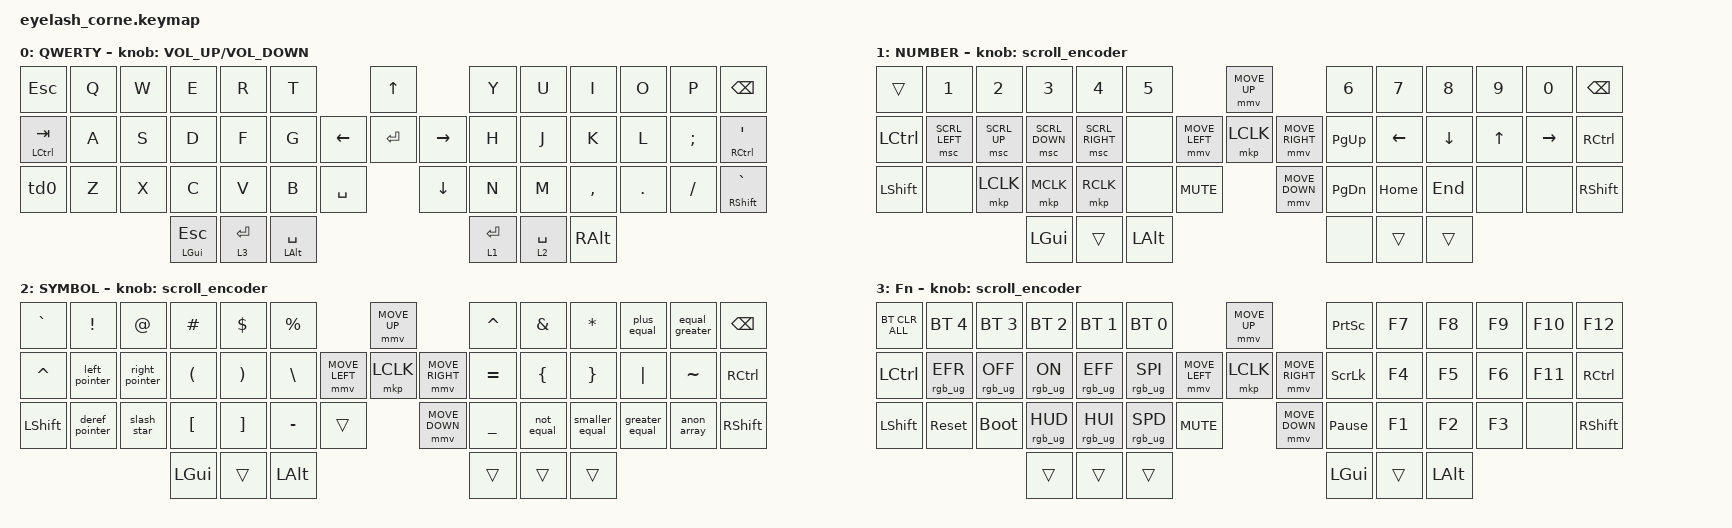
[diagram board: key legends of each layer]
#define ZMK_POINTING_DEFAULT_MOVE_VAL 1200  // 600
#define ZMK_POINTING_DEFAULT_SCRL_VAL 25   // 10

#include <input/processors.dtsi>
#include <zephyr/dt-bindings/input/input-event-codes.h>
#include <behaviors.dtsi>
#include <dt-bindings/zmk/bt.h>
#include <dt-bindings/zmk/keys.h>
#include <dt-bindings/zmk/pointing.h>
#include <dt-bindings/zmk/rgb.h>

&mmv_input_listener { input-processors = <&zip_xy_scaler 2 1>; };

&msc_input_listener { input-processors = <&zip_scroll_scaler 2 1>; };

&msc {
    acceleration-exponent = <1>;      // 0
    time-to-max-speed-ms = <100>;       // 300
    delay-ms = <0>;                   // 0
};

&mmv {
    time-to-max-speed-ms = <500>;
    acceleration-exponent = <1>;
    trigger-period-ms = <16>;
};

/ {
    behaviors {
        td0: td0 {
            compatible = "zmk,behavior-tap-dance";
            display-name = "Shift/Caps Lock Tap Dance";
            #binding-cells = <0>;
            bindings = <&kp LEFT_SHIFT>, <&kp CAPS>;
        };
    };

    rgb_encoder: rgb_encoder {
        compatible = "zmk,behavior-sensor-rotate";
        #sensor-binding-cells = <0>;
        bindings = <&rgb_ug RGB_BRI>, <&rgb_ug RGB_BRD>;
    };

    scroll_encoder: scroll_encoder {
        compatible = "zmk,behavior-sensor-rotate";
        #sensor-binding-cells = <0>;
        bindings = <&msc SCRL_DOWN>, <&msc SCRL_UP>;

        tap-ms = <100>;
    };

    macros {
        smaller_equal: smaller_equal {
            compatible = "zmk,behavior-macro";
            #binding-cells = <0>;
            bindings = <&kp LT &kp EQUAL>;
            label = "SMALLER_EQUAL";
        };

        greater_equal: greater_equal {
            compatible = "zmk,behavior-macro";
            #binding-cells = <0>;
            bindings = <&kp GT &kp EQUAL>;
            label = "GREATER_EQUAL";
        };

        not_equal: not_equal {
            compatible = "zmk,behavior-macro";
            #binding-cells = <0>;
            bindings = <&kp EXCL &kp EQUAL>;
            label = "NOT_EQUAL";
        };

        right_pointer: right_pointer {
            compatible = "zmk,behavior-macro";
            #binding-cells = <0>;
            bindings = <&kp MINUS &kp GT>;
            label = "RIGHT_POINTER";
        };

        left_pointer: left_pointer {
            compatible = "zmk,behavior-macro";
            #binding-cells = <0>;
            bindings = <&kp LT &kp MINUS>;
            label = "LEFT_POINTER";
        };

        slash_star: slash_star {
            compatible = "zmk,behavior-macro";
            #binding-cells = <0>;
            bindings = <&kp FSLH &kp STAR>;
            label = "SLASH_STAR";
        };

        equal_greater: equal_greater {
            compatible = "zmk,behavior-macro";
            #binding-cells = <0>;
            bindings = <&kp EQUAL &kp GREATER_THAN>;
            label = "EQUAL_GREATER";
        };

        plus_equal: plus_equal {
            compatible = "zmk,behavior-macro";
            #binding-cells = <0>;
            bindings = <&kp PLUS &kp EQUAL>;
            label = "PLUS_EQUAL";
        };

        anon_array: anon_array {
            compatible = "zmk,behavior-macro";
            #binding-cells = <0>;
            bindings = <&kp LEFT_BRACKET &kp UNDER &kp RIGHT_BRACKET>;
            label = "ANON_ARRAY";
        };

        deref_pointer: deref_pointer {
            compatible = "zmk,behavior-macro";
            #binding-cells = <0>;
            bindings = <&kp DOT &kp STAR>;
            label = "DEREF_POINTER";
        };
    };

    keymap {
        compatible = "zmk,keymap";

        default_layer {
            display-name = "QWERTY";
            bindings = <
&kp ESCAPE     &kp Q  &kp W  &kp E            &kp R        &kp T                                  &kp UP                &kp Y        &kp U        &kp I      &kp O    &kp P          &kp BSPC
&mt LCTRL TAB  &kp A  &kp S  &kp D            &kp F        &kp G                        &kp LEFT  &kp ENTER  &kp RIGHT  &kp H        &kp J        &kp K      &kp L    &kp SEMICOLON  &mt RCTRL SQT
&td0           &kp Z  &kp X  &kp C            &kp V        &kp B           &kp SPACE              &kp DOWN              &kp N        &kp M        &kp COMMA  &kp DOT  &kp FSLH       &mt RSHFT GRAVE
                             &mt LGUI ESCAPE  &lt 3 ENTER  &mt LALT SPACE                                               &lt 1 ENTER  &lt 2 SPACE  &kp RALT
            >;

            sensor-bindings = <&inc_dec_kp C_VOLUME_UP C_VOLUME_DOWN>;
        };

        lower_layer {
            display-name = "NUMBER";
            bindings = <
&trans     &kp NUMBER_1    &kp NUMBER_2  &kp NUMBER_3    &kp NUMBER_4     &kp N5                                  &mmv MOVE_UP                     &kp NUMBER_6  &kp N7    &kp N8    &kp N9  &kp N0     &kp BSPC
&kp LCTRL  &msc SCRL_LEFT  &msc SCRL_UP  &msc SCRL_DOWN  &msc SCRL_RIGHT  &none                   &mmv MOVE_LEFT  &mkp LCLK       &mmv MOVE_RIGHT  &kp PG_UP     &kp LEFT  &kp DOWN  &kp UP  &kp RIGHT  &kp RCTRL
&kp LSHFT  &none           &mkp LCLK     &mkp MCLK       &mkp RCLK        &none     &kp C_MUTE                    &mmv MOVE_DOWN                   &kp PG_DN     &kp HOME  &kp END   &none   &none      &kp RSHFT
                                         &kp LGUI        &trans           &kp LALT                                                                 &none         &trans    &trans
            >;

            sensor-bindings = <&scroll_encoder>;
        };

        raise_layer {
            display-name = "SYMBOL";
            bindings = <
&kp GRAVE  &kp EXCL        &kp AT          &kp HASH              &kp DOLLAR             &kp PRCNT                                &mmv MOVE_UP                     &kp CARET  &kp AMPERSAND   &kp ASTERISK     &plus_equal     &equal_greater  &kp BSPC
&kp CARET  &left_pointer   &right_pointer  &kp LEFT_PARENTHESIS  &kp RIGHT_PARENTHESIS  &kp BACKSLASH            &mmv MOVE_LEFT  &mkp LCLK       &mmv MOVE_RIGHT  &kp EQUAL  &kp LEFT_BRACE  &kp RIGHT_BRACE  &kp PIPE        &kp TILDE       &kp RCTRL
&kp LSHFT  &deref_pointer  &slash_star     &kp LEFT_BRACKET      &kp RIGHT_BRACKET      &kp MINUS      &trans                    &mmv MOVE_DOWN                   &kp UNDER  &not_equal      &smaller_equal   &greater_equal  &anon_array     &kp RSHFT
                                           &kp LGUI              &trans                 &kp LALT                                                                  &trans     &trans          &trans
            >;

            sensor-bindings = <&scroll_encoder>;
        };

        layer_3 {
            display-name = "Fn";
            bindings = <
&bt BT_CLR_ALL  &bt BT_SEL 4     &bt BT_SEL 3     &bt BT_SEL 2     &bt BT_SEL 1     &bt BT_SEL 0                                   &mmv MOVE_UP                     &kp PRINTSCREEN  &kp F7  &kp F8        &kp F9  &kp F10  &kp F12
&kp LCTRL       &rgb_ug RGB_EFR  &rgb_ug RGB_OFF  &rgb_ug RGB_ON   &rgb_ug RGB_EFF  &rgb_ug RGB_SPI                &mmv MOVE_LEFT  &mkp LCLK       &mmv MOVE_RIGHT  &kp SCROLLLOCK   &kp F4  &kp F5        &kp F6  &kp F11  &kp RCTRL
&kp LSHFT       &sys_reset       &bootloader      &rgb_ug RGB_HUD  &rgb_ug RGB_HUI  &rgb_ug RGB_SPD  &kp C_MUTE                    &mmv MOVE_DOWN                   &kp PAUSE_BREAK  &kp F1  &kp F2        &kp F3  &none    &kp RSHFT
                                                  &trans           &trans           &trans                                                                          &kp LGUI         &trans  &kp LEFT_ALT
            >;

            sensor-bindings = <&scroll_encoder>;
        };
    };
};
